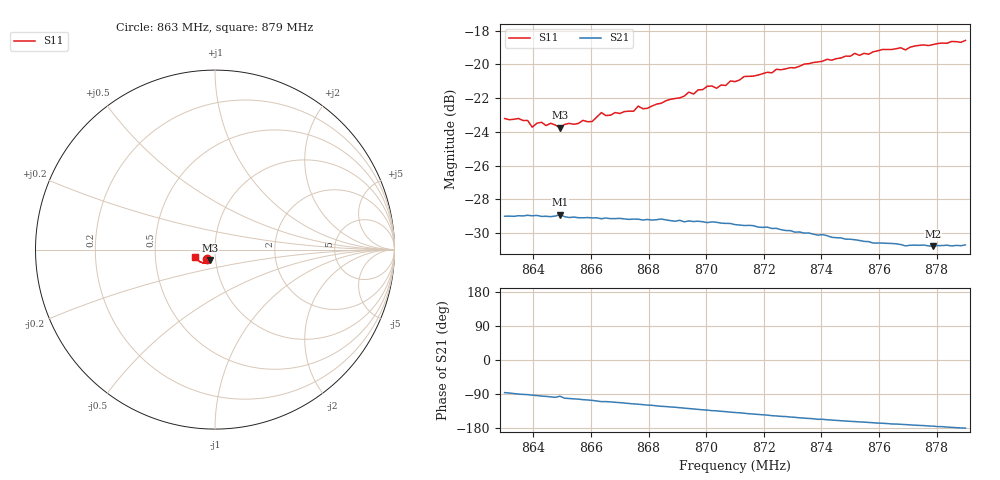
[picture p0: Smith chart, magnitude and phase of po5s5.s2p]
# HZ S RI R 50
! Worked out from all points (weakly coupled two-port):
!   101 points, 863 MHz to 879 MHz, reference 50 ohm
!   highest |S21| = -28.90 dB at 864.92 MHz (marker M1); lowest = -30.8 dB at 877.88 MHz (marker M2)
!   lowest |S11| = -23.8 dB at 864.92 MHz (marker M3), VSWR 1.14, Z = 46.8 - j5.43 ohm
!   |S11| at or under -10 dB: start of sweep to end of sweep
!   S12 and S22 are empty: the file has one direction only
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8.63e8  -0.0443 -0.053  0.00244 -0.0354  0 0  0 0
8.638e8  -0.0399 -0.0553  -0.000892 -0.0357  0 0  0 0
8.6396e8  -0.0381 -0.0529  -0.00173 -0.0355  0 0  0 0
8.6428e8  -0.0378 -0.0558  -0.00317 -0.0353  0 0  0 0
8.6492e8  -0.0297 -0.0577  -0.00346 -0.0357  0 0  0 0
8.6572e8  -0.0342 -0.059  -0.00886 -0.034  0 0  0 0
8.6604e8  -0.0331 -0.0591  -0.00995 -0.0336  0 0  0 0
8.6636e8  -0.0381 -0.061  -0.0118 -0.0328  0 0  0 0
8.6668e8  -0.0338 -0.0621  -0.0123 -0.0327  0 0  0 0
8.6748e8  -0.0334 -0.0645  -0.0152 -0.0313  0 0  0 0
8.6764e8  -0.0366 -0.0657  -0.0156 -0.0311  0 0  0 0
8.6844e8  -0.0367 -0.0674  -0.0185 -0.0295  0 0  0 0
8.694e8  -0.0411 -0.0718  -0.0213 -0.027  0 0  0 0
8.6956e8  -0.0409 -0.0707  -0.0216 -0.0265  0 0  0 0
8.7004e8  -0.0442 -0.0739  -0.0228 -0.0251  0 0  0 0
8.7036e8  -0.0448 -0.0722  -0.0237 -0.0244  0 0  0 0
8.71e8  -0.0493 -0.074  -0.0251 -0.0222  0 0  0 0
8.7132e8  -0.0532 -0.0751  -0.0257 -0.0212  0 0  0 0
8.7372e8  -0.0689 -0.0742  -0.0285 -0.0133  0 0  0 0
8.7644e8  -0.0922 -0.0612  -0.0289 -0.00572  0 0  0 0
8.7788e8  -0.1035 -0.0489  -0.0288 -0.00277  0 0  0 0
8.79e8  -0.111 -0.0393  -0.0292 -0.000103  0 0  0 0
